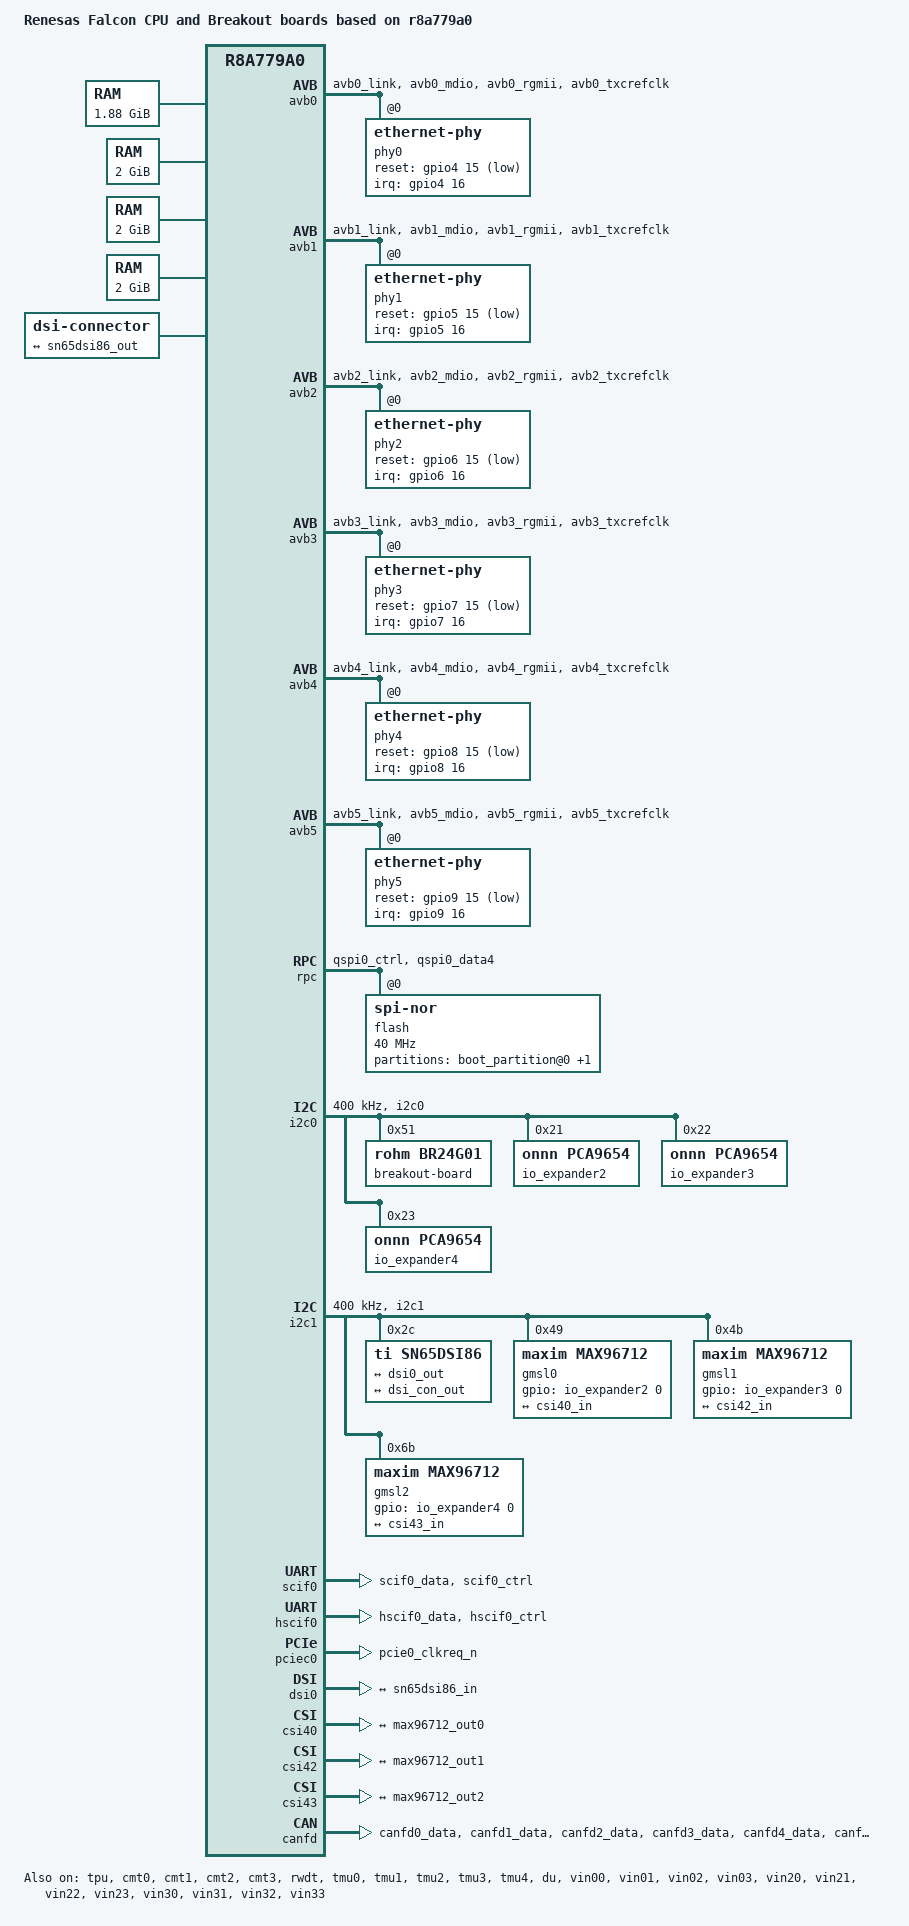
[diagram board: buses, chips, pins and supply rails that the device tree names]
// SPDX-License-Identifier: GPL-2.0
/*
 * Device Tree Source for the Falcon CPU and BreakOut boards
 *
 * Copyright (C) 2020 Renesas Electronics Corp.
 */

/dts-v1/;
/* Reserved 1MB memory for boot loader secure area */
/memreserve/ 0x50000000 0x00100000;
#include "r8a779a0-falcon-cpu.dtsi"
#include "r8a779a0-falcon-csi-dsi.dtsi"
#include "r8a779a0-falcon-ethernet.dtsi"
#include <dt-bindings/gpio/gpio.h>

/ {
	model = "Renesas Falcon CPU and Breakout boards based on r8a779a0";
	compatible = "renesas,falcon-breakout", "renesas,falcon-cpu", "renesas,r8a779a0";

	aliases {
		ethernet0 = &avb0;
	};

	memory@48000000 {
		device_type = "memory";
		/* first 128MB is reserved for secure area. */
		reg = <0x0 0x48000000 0x0 0x78000000>;
	};

	memory@500000000 {
		device_type = "memory";
		reg = <0x5 0x00000000 0x0 0x80000000>;
	};

	memory@600000000 {
		device_type = "memory";
		reg = <0x6 0x00000000 0x0 0x80000000>;
	};

	memory@700000000 {
		device_type = "memory";
		reg = <0x7 0x00000000 0x0 0x80000000>;
	};

	reserved-memory {
		#address-cells = <2>;
		#size-cells = <2>;
		ranges;

		/* global autoconfigured region for contiguous allocations */
		linux,cma@58000000 {
			compatible = "shared-dma-pool";
			reusable;
			reg = <0x00000000 0x58000000 0x0 0x18000000>;
			linux,cma-default;
		};

		/* device specific region for contiguous allocations */
		mmp_reserved: linux,multimedia@7f000000 {
			compatible = "shared-dma-pool";
			reusable;
			reg = <0x00000000 0x7f000000 0x0 0x01000000>;
		};
	};

	mmngr {
		compatible = "renesas,mmngr";
		memory-region = <&mmp_reserved>;
	};

	mmngrbuf {
		compatible = "renesas,mmngrbuf";
	};

	dsi-con {
		compatible = "dsi-connector";

		port {
			dsi_con_out: endpoint {
			remote-endpoint = <&sn65dsi86_out>;
			};
		};
	};
};

&avb0 {
	pinctrl-0 = <&avb0_pins>;
	pinctrl-names = "default";
	phy-handle = <&phy0>;
	tx-internal-delay-ps = <2000>;
	status = "okay";

	phy0: ethernet-phy@0 {
		rxc-skew-ps = <1500>;
		reg = <0>;
		interrupt-parent = <&gpio4>;
		interrupts = <16 IRQ_TYPE_LEVEL_LOW>;
		reset-gpios = <&gpio4 15 GPIO_ACTIVE_LOW>;
	};
};

&avb1 {
	pinctrl-0 = <&avb1_pins>;
	pinctrl-names = "default";
	phy-handle = <&phy1>;
	phy-mode = "rgmii-txid";

	phy1: ethernet-phy@1 {
		rxc-skew-ps = <1500>;
		reg = <0>;
		interrupt-parent = <&gpio5>;
		interrupts = <16 IRQ_TYPE_LEVEL_LOW>;
		reset-gpios = <&gpio5 15 GPIO_ACTIVE_LOW>;
	};
};

&avb2 {
	pinctrl-0 = <&avb2_pins>;
	pinctrl-names = "default";
	phy-handle = <&phy2>;
	phy-mode = "rgmii-txid";

	phy2: ethernet-phy@2 {
		rxc-skew-ps = <1500>;
		reg = <0>;
		interrupt-parent = <&gpio6>;
		interrupts = <16 IRQ_TYPE_LEVEL_LOW>;
		reset-gpios = <&gpio6 15 GPIO_ACTIVE_LOW>;
	};
};

&avb3 {
	pinctrl-0 = <&avb3_pins>;
	pinctrl-names = "default";
	phy-handle = <&phy3>;
	phy-mode = "rgmii-txid";

	phy3: ethernet-phy@3{
		rxc-skew-ps = <1500>;
		reg = <0>;
		interrupt-parent = <&gpio7>;
		interrupts = <16 IRQ_TYPE_LEVEL_LOW>;
		reset-gpios = <&gpio7 15 GPIO_ACTIVE_LOW>;
	};
};

&avb4 {
	pinctrl-0 = <&avb4_pins>;
	pinctrl-names = "default";
	phy-handle = <&phy4>;
	phy-mode = "rgmii-txid";

	phy4: ethernet-phy@4 {
		rxc-skew-ps = <1500>;
		reg = <0>;
		interrupt-parent = <&gpio8>;
		interrupts = <16 IRQ_TYPE_LEVEL_LOW>;
		reset-gpios = <&gpio8 15 GPIO_ACTIVE_LOW>;
	};
};

&avb5 {
	pinctrl-0 = <&avb5_pins>;
	pinctrl-names = "default";
	phy-handle = <&phy5>;
	phy-mode = "rgmii-txid";

	phy5: ethernet-phy@5 {
		rxc-skew-ps = <1500>;
		reg = <0>;
		interrupt-parent = <&gpio9>;
		interrupts = <16 IRQ_TYPE_LEVEL_LOW>;
		reset-gpios = <&gpio9 15 GPIO_ACTIVE_LOW>;
	};
};

&rpc {
	pinctrl-0 = <&qspi0_pins>;
	pinctrl-names = "default";

	status = "okay";

	flash@0 {
		compatible = "jedec,spi-nor";
		reg = <0>;
		spi-max-frequency = <40000000>;
		spi-rx-bus-width = <4>;
		spi-tx-bus-width = <1>;

		partitions {
			compatible = "fixed-partitions";
			#address-cells = <1>;
			#size-cells = <1>;

			boot_partition@0 {
				reg = <0x00000000 0xC40000>;
				read-only;
			};
			user@00C40000 {
				reg = <0x00C40000 0x33C0000>;
			};
		};
	};
};

&tpu {
	pinctrl-0 = <&tpu_pin>;
	pinctrl-names = "default";

	status = "okay";
};

&i2c0 {
	pinctrl-0 = <&i2c0_pins>;
	pinctrl-names = "default";

	status = "okay";
	clock-frequency = <400000>;

	eeprom@51 {
		compatible = "rohm,br24g01", "atmel,24c01";
		label = "breakout-board";
		reg = <0x51>;
		pagesize = <8>;
	};

	io_expander2: gpio@21 {
		compatible = "onnn,pca9654";
		reg = <0x21>;
		gpio-controller;
		#gpio-cells = <2>;
	};

	io_expander3: gpio@22 {
		compatible = "onnn,pca9654";
		reg = <0x22>;
		gpio-controller;
		#gpio-cells = <2>;
	};

	io_expander4: gpio@23 {
		compatible = "onnn,pca9654";
		reg = <0x23>;
		gpio-controller;
		#gpio-cells = <2>;
	};
};

&i2c1 {
	pinctrl-0 = <&i2c1_pins>;
	pinctrl-names = "default";

	status = "okay";
	clock-frequency = <400000>;

	sn65dsi86@2c {
		compatible = "ti,sn65dsi86";
		reg = <0x2c>;
		dp-connector;
		clocks = <&ref_clk>;
		clock-names = "refclk";
		no-use-gpio;
		no-use-scramble;
		hpd-poll;

		ports {
			#address-cells = <1>;
			#size-cells = <0>;

			port@0 {
				reg = <0>;
				sn65dsi86_in: endpoint {
					remote-endpoint = <&dsi0_out>;
				};
			};

			port@1 {
				reg = <1>;
				sn65dsi86_out: endpoint {
					remote-endpoint = <&dsi_con_out>;
				};
			};
		};
	};

	gmsl0: gmsl-deserializer@49 {
		gpio-controller;
		#gpio-cells = <2>;

		compatible = "maxim,max96712";
		reg = <0x49>, <0x01>, <0x02>, <0x03>, <0x04>;
		gpios = <&io_expander2 0 GPIO_ACTIVE_HIGH>;

		ports {
			#address-cells = <1>;
			#size-cells = <0>;

			port@0 {
				reg = <0>;
				max96712_in0: endpoint {
				};
			};

			port@1 {
				reg = <1>;
				max96712_in1: endpoint {
				};
			};

			port@2 {
				reg = <2>;
				max96712_in2: endpoint {
				};
			};

			port@3 {
				reg = <3>;
				max96712_in3: endpoint {
				};
			};

			port@4 {
				reg = <4>;
				max96712_out0: endpoint {
					clock-lanes = <0>;
					data-lanes = <1 2 3 4>;
					remote-endpoint = <&csi40_in>;
				};
			};
		};

		i2c-mux {
			#address-cells = <1>;
			#size-cells = <0>;

			i2c@0 {
				#address-cells = <1>;
				#size-cells = <0>;
				reg = <0>;

				status = "disabled";
			};

			i2c@1 {
				#address-cells = <1>;
				#size-cells = <0>;
				reg = <1>;

				status = "disabled";
			};

			i2c@2 {
				#address-cells = <1>;
				#size-cells = <0>;
				reg = <2>;

				status = "disabled";
			};

			i2c@3 {
				#address-cells = <1>;
				#size-cells = <0>;
				reg = <3>;

				status = "disabled";
			};
		};
	};

	gmsl1: gmsl-deserializer@4b {
		gpio-controller;
		#gpio-cells = <2>;

		compatible = "maxim,max96712";
		reg = <0x4b>, <0x05>, <0x06>, <0x07>, <0x08>;
		gpios = <&io_expander3 0 GPIO_ACTIVE_HIGH>;
		maxim,invert_phy-pol;

		ports {
			#address-cells = <1>;
			#size-cells = <0>;

			port@0 {
				reg = <0>;
				max96712_in4: endpoint {
				};
			};

			port@1 {
				reg = <1>;
				max96712_in5: endpoint {
				};
			};

			port@2 {
				reg = <2>;
				max96712_in6: endpoint {
				};
			};

			port@3 {
				reg = <3>;
				max96712_in7: endpoint {
				};
			};

			port@4 {
				reg = <4>;
				max96712_out1: endpoint {
					clock-lanes = <0>;
					data-lanes = <1 2 3 4>;
					remote-endpoint = <&csi42_in>;
				};
			};
		};

		i2c-mux {
			#address-cells = <1>;
			#size-cells = <0>;

			i2c@0 {
				#address-cells = <1>;
				#size-cells = <0>;
				reg = <0>;

				status = "disabled";
			};

			i2c@1 {
				#address-cells = <1>;
				#size-cells = <0>;
				reg = <1>;

				status = "disabled";
			};

			i2c@2 {
				#address-cells = <1>;
				#size-cells = <0>;
				reg = <2>;

				status = "disabled";
			};

			i2c@3 {
				#address-cells = <1>;
				#size-cells = <0>;
				reg = <3>;

				status = "disabled";
			};
		};
	};

	gmsl2: gmsl-deserializer@6b {
		gpio-controller;
		#gpio-cells = <2>;

		compatible = "maxim,max96712";
		reg = <0x6b>, <0x09>, <0x0a>, <0x0b>, <0x0c>;
		gpios = <&io_expander4 0 GPIO_ACTIVE_HIGH>;
		maxim,invert_phy-pol;

		ports {
			#address-cells = <1>;
			#size-cells = <0>;

			port@0 {
				reg = <0>;
				max96712_in8: endpoint {
				};
			};

			port@1 {
				reg = <1>;
				max96712_in9: endpoint {
				};
			};

			port@2 {
				reg = <2>;
				max96712_in10: endpoint {
				};
			};

			port@3 {
				reg = <3>;
				max96712_in11: endpoint {
				};
			};

			port@4 {
				reg = <4>;
				max96712_out2: endpoint {
					clock-lanes = <0>;
					data-lanes = <1 2 3 4>;
					remote-endpoint = <&csi43_in>;
				};
			};
		};

		i2c-mux {
			#address-cells = <1>;
			#size-cells = <0>;

			i2c@0 {
				#address-cells = <1>;
				#size-cells = <0>;
				reg = <0>;

				status = "disabled";
			};

			i2c@1 {
				#address-cells = <1>;
				#size-cells = <0>;
				reg = <1>;

				status = "disabled";
			};

			i2c@2 {
				#address-cells = <1>;
				#size-cells = <0>;
				reg = <2>;

				status = "disabled";
			};

			i2c@3 {
				#address-cells = <1>;
				#size-cells = <0>;
				reg = <3>;

				status = "disabled";
			};
		};
	};
};

&cmt0 {
	status = "okay";
};

&cmt1 {
	status = "okay";
};

&cmt2 {
	status = "okay";
};

&cmt3 {
	status = "okay";
};

&rwdt {
	timeout-sec = <60>;
	status = "okay";
};

&scif0 {
	pinctrl-0 = <&scif0_pins>;
	pinctrl-names = "default";

	uart-has-rtscts;
	/* Please use exclusively to the hscif0 node */
	status = "okay";
};

&hscif0 {
	pinctrl-0 = <&hscif0_pins>;
	pinctrl-names = "default";

	uart-has-rtscts;
	/* Please use exclusively to the scif0 node */
	/* status = "okay"; */
};

&scif_clk {
	pinctrl-0 = <&scif_clk_pins>;
	pinctrl-names = "default";

	clock-frequency = <24000000>;
	status = "okay";
};

&ref_clk {
	clock-frequency = <38400000>;
};

&pfc {
	avb0_pins: avb0 {
		mux {
			groups = "avb0_link", "avb0_mdio", "avb0_rgmii",
				 "avb0_txcrefclk";
			function = "avb0";
		};

		pins_mdio {
			groups = "avb0_mdio";
			drive-strength = <21>;
		};

		pins_mii {
			groups = "avb0_rgmii";
			drive-strength = <21>;
		};

	};

	avb1_pins: avb1 {
		mux {
			groups = "avb1_link", "avb1_mdio", "avb1_rgmii",
				 "avb1_txcrefclk";
			function = "avb1";
		};
	};

	avb2_pins: avb2 {
		mux {
			groups = "avb2_link", "avb2_mdio", "avb2_rgmii",
				 "avb2_txcrefclk";
			function = "avb2";
		};
	};

	avb3_pins: avb3 {
		mux {
			groups = "avb3_link", "avb3_mdio", "avb3_rgmii",
				 "avb3_txcrefclk";
			function = "avb3";
		};
	};

	avb4_pins: avb4 {
		mux {
			groups = "avb4_link", "avb4_mdio", "avb4_rgmii",
				 "avb4_txcrefclk";
			function = "avb4";
		};
	};

	avb5_pins: avb5 {
		mux {
			groups = "avb5_link", "avb5_mdio", "avb5_rgmii",
				 "avb5_txcrefclk";
			function = "avb5";
		};
	};

	i2c0_pins: i2c0 {
		groups = "i2c0";
		function = "i2c0";
	};

	i2c1_pins: i2c1 {
		groups = "i2c1";
		function = "i2c1";
	};

	qspi0_pins: qspi0 {
		groups = "qspi0_ctrl", "qspi0_data4";
		function = "qspi0";
	};

	tpu_pin: tpu {
		groups = "tpu_to1";
		function = "tpu";
	};

	scif0_pins: scif0 {
		groups = "scif0_data", "scif0_ctrl";
		function = "scif0";
	};

	hscif0_pins: hscif0 {
		groups = "hscif0_data", "hscif0_ctrl";
		function = "hscif0";
	};

	scif_clk_pins: scif_clk {
		groups = "scif_clk";
		function = "scif_clk";
	};

	canfd0_pins: canfd0 {
		groups = "canfd0_data";
		function = "canfd0";
	};

	canfd1_pins: canfd1 {
		groups = "canfd1_data";
		function = "canfd1";
	};

	canfd2_pins: canfd2 {
		groups = "canfd2_data";
		function = "canfd2";
	};

	canfd3_pins: canfd3 {
		groups = "canfd3_data";
		function = "canfd3";
	};

	canfd4_pins: canfd4 {
		groups = "canfd4_data";
		function = "canfd4";
	};

	canfd5_pins: canfd5 {
		groups = "canfd5_data";
		function = "canfd5";
	};

	canfd6_pins: canfd6 {
		groups = "canfd6_data";
		function = "canfd6";
	};

	canfd7_pins: canfd7 {
		groups = "canfd7_data";
		function = "canfd7";
	};

	pcie0_pins: pcie0 {
		groups = "pcie0_clkreq_n";
		function = "pcie";
	};

	pcie1_pins: pcie1 {
		groups = "pcie1_clkreq_n";
		function = "pcie";
	};

	pcie2_pins: pcie2 {
		groups = "pcie2_clkreq_n";
		function = "pcie";
	};

	pcie3_pins: pcie3 {
		groups = "pcie3_clkreq_n";
		function = "pcie";
	};
};

&tmu0 {
	status = "okay";
};

&tmu1 {
	status = "okay";
};

&tmu2 {
	status = "okay";
};

&tmu3 {
	status = "okay";
};

&tmu4 {
	status = "okay";
};

&pcie_bus_clk {
	clock-frequency = <100000000>;
};

&pciec0 {
	status = "okay";
	pinctrl-0 = <&pcie0_pins>;
	pinctrl-names = "default";
};

&pciec1 {
	status = "disabled";
	pinctrl-0 = <&pcie1_pins>;
	pinctrl-names = "default";
};

&pciec2 {
	status = "disabled";
	pinctrl-0 = <&pcie2_pins>;
	pinctrl-names = "default";
};

&pciec3 {
	status = "disabled";
	pinctrl-0 = <&pcie3_pins>;
	pinctrl-names = "default";
};

&du {
	status = "okay";
};

&dsi0 {
	status = "okay";

	clocks = <&cpg CPG_MOD 415>,
			 <&cpg CPG_CORE R8A779A0_CLK_DSI>,
			 <&extal_clk>;
	clock-names = "fck", "dsi", "extal";

	ports {
		port@1 {
			endpoint {
				remote-endpoint = <&sn65dsi86_in>;
				data-lanes = <1 2 3 4>;
			};
		};
	};
};

&csi40 {
	status = "okay";

	ports {
		#address-cells = <1>;
		#size-cells = <0>;

		port@0 {
			reg = <0>;

			csi40_in: endpoint {
				clock-lanes = <0>;
				data-lanes = <1 2 3 4>;
				remote-endpoint = <&max96712_out0>;
			};
		};
	};
};

&csi42 {
	status = "okay";

	ports {
		#address-cells = <1>;
		#size-cells = <0>;

		port@0 {
			reg = <0>;

			csi42_in: endpoint {
				clock-lanes = <0>;
				data-lanes = <1 2 3 4>;
				remote-endpoint = <&max96712_out1>;
			};
		};
	};
};

&csi43 {
	status = "okay";

	ports {
		#address-cells = <1>;
		#size-cells = <0>;

		port@0 {
			reg = <0>;

			csi43_in: endpoint {
				clock-lanes = <0>;
				data-lanes = <1 2 3 4>;
				remote-endpoint = <&max96712_out2>;
			};
		};
	};
};

&vin00 {
	status = "okay";
};

&vin01 {
	status = "okay";
};

&vin02 {
	status = "okay";
};

&vin03 {
	status = "okay";
};

&vin20 {
	status = "okay";
};

&vin21 {
	status = "okay";
};

&vin22 {
	status = "okay";
};

&vin23 {
	status = "okay";
};

&vin30 {
	status = "okay";
};

&vin31 {
	status = "okay";
};

&vin32 {
	status = "okay";
};

&vin33 {
	status = "okay";
};

/* FAKRA Overlay */
#include "falcon-fakra.dtsi"

&canfd {
	pinctrl-0 = <&canfd0_pins>, <&canfd1_pins>, <&canfd2_pins>,
		<&canfd3_pins>, <&canfd4_pins>, <&canfd5_pins>,
		<&canfd6_pins>, <&canfd7_pins>;
		pinctrl-names = "default";
	status = "okay";

	channel0 {
		status = "okay";
	};

	channel1 {
		status = "okay";
	};

	channel2 {
		status = "okay";
	};

	channel3 {
		status = "okay";
	};

	channel4 {
		status = "okay";
	};

	channel5 {
		status = "okay";
	};

	channel6 {
		status = "okay";
	};

	channel7 {
		status = "okay";
	};
};
